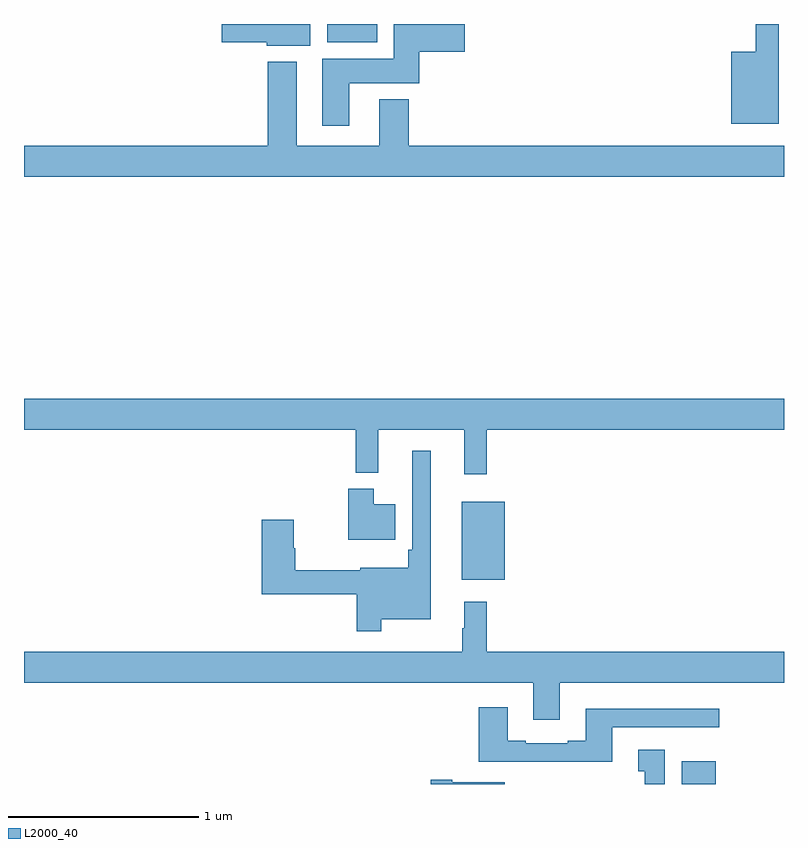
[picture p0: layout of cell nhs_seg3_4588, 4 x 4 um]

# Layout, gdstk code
import gdstk
lib = gdstk.Library(unit=1e-6, precision=1e-09)
def R(c, l, rs):  # rectangles x0, y0, x1, y1
    for r in rs: c.add(gdstk.rectangle(r[:2], r[2:], *l))
def P(c, l, *ps):  # polygons
    for p in ps: c.add(gdstk.Polygon(p, *l))
L2000_40 = (2000, 40)

nhs_seg3_4588 = lib.new_cell('nhs_seg3_4588')
R(nhs_seg3_4588, L2000_40, [(360.461,684.4,360.64,684.52), (359.303,685.475,359.53,685.885), (358.595,688.304,358.858,688.4)])
P(nhs_seg3_4588, L2000_40, [(358.507,688.4),(358.04,688.4),(358.04,688.304),(358.278,688.304),(358.278,688.286),(358.507,688.286)],
  [(358.711,688.088),(359.081,688.088),(359.081,688.253),(359.32,688.253),(359.32,688.4),(358.946,688.4),(358.946,688.216),(358.571,688.216),(358.571,687.864),(358.711,687.864)],
  [(360.973,688.4),(360.852,688.4),(360.852,688.255),(360.722,688.255),(360.722,687.875),(360.973,687.875)],
  [(361,687.76),(359.024,687.76),(359.024,688.003),(358.871,688.003),(358.871,687.76),(358.435,687.76),(358.435,688.201),(358.283,688.201),(358.283,687.76),(357,687.76),(357,687.596),(361,687.596)],
  [(359.435,686.264),(361,686.264),(361,686.428),(357,686.428),(357,686.264),(358.747,686.264),(358.747,686.039),(358.865,686.039),(358.865,686.264),(359.318,686.264),(359.318,686.031),(359.435,686.031)],
  [(358.879,685.268),(359.14,685.268),(359.14,686.155),(359.043,686.155),(359.043,685.633),(359.023,685.633),(359.023,685.537),(358.769,685.537),(358.769,685.526),(358.428,685.526),(358.428,685.641),(358.42,685.641),(358.42,685.792),(358.25,685.792),(358.25,685.398),(358.75,685.398),(358.75,685.203),(358.879,685.203)],
  [(358.954,685.873),(358.84,685.873),(358.84,685.954),(358.706,685.954),(358.706,685.685),(358.954,685.685)],
  [(359.821,684.932),(361,684.932),(361,685.096),(359.435,685.096),(359.435,685.36),(359.318,685.36),(359.318,685.22),(359.307,685.22),(359.307,685.096),(357,685.096),(357,684.932),(359.681,684.932),(359.681,684.738),(359.821,684.738)],
  [(360.097,684.699),(360.658,684.699),(360.658,684.796),(359.957,684.796),(359.957,684.628),(359.861,684.628),(359.861,684.615),(359.641,684.615),(359.641,684.628),(359.545,684.628),(359.545,684.805),(359.393,684.805),(359.393,684.518),(360.097,684.518)],
  [(360.373,684.58),(360.233,684.58),(360.233,684.467),(360.266,684.467),(360.266,684.4),(360.373,684.4)],
  [(359.53,684.409),(359.254,684.409),(359.254,684.422),(359.142,684.422),(359.142,684.4),(359.53,684.4)])

lib.write_gds('nhs_seg3_4588.gds')
